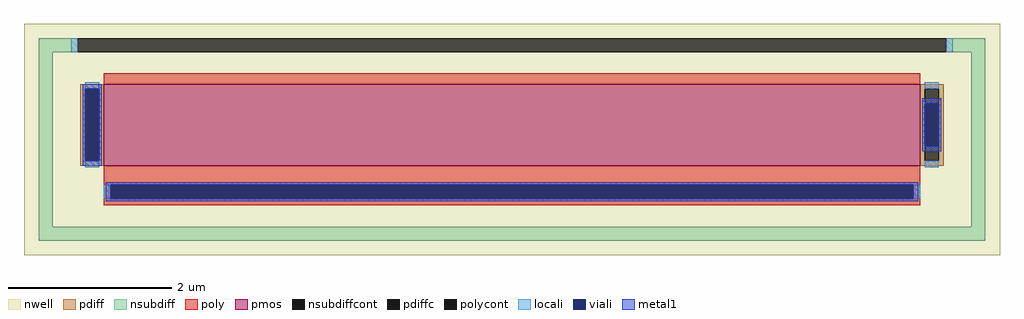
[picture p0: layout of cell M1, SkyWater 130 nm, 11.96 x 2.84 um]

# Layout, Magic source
magic
tech sky130B
magscale 1 2
<< nwell >>
rect -1196 -284 1196 284
<< pmos >>
rect -1000 -64 1000 136
<< pdiff >>
rect -1058 124 -1000 136
rect -1058 -52 -1046 124
rect -1012 -52 -1000 124
rect -1058 -64 -1000 -52
rect 1000 124 1058 136
rect 1000 -52 1012 124
rect 1046 -52 1058 124
rect 1000 -64 1058 -52
<< pdiffc >>
rect -1046 -52 -1012 124
rect 1012 -52 1046 124
<< nsubdiff >>
rect -1160 214 -1064 248
rect 1064 214 1160 248
rect -1160 -214 -1126 214
rect 1126 -214 1160 214
rect -1160 -248 1160 -214
<< nsubdiffcont >>
rect -1064 214 1064 248
<< poly >>
rect -1000 136 1000 162
rect -1000 -111 1000 -64
rect -1000 -145 -984 -111
rect 984 -145 1000 -111
rect -1000 -161 1000 -145
<< polycont >>
rect -984 -145 984 -111
<< locali >>
rect -1080 214 -1064 248
rect 1064 214 1080 248
rect -1046 124 -1012 140
rect -1046 -68 -1012 -52
rect 1012 124 1046 140
rect 1012 -68 1046 -52
rect -1000 -145 -984 -111
rect 984 -145 1000 -111
<< viali >>
rect -1046 -52 -1012 124
rect 1012 -17 1046 89
rect -984 -145 984 -111
<< metal1 >>
rect -1052 124 -1006 136
rect -1052 -52 -1046 124
rect -1012 -52 -1006 124
rect 1006 89 1052 101
rect 1006 -17 1012 89
rect 1046 -17 1052 89
rect 1006 -29 1052 -17
rect -1052 -64 -1006 -52
rect -996 -111 996 -105
rect -996 -145 -984 -111
rect 984 -145 996 -111
rect -996 -151 996 -145
<< properties >>
string FIXED_BBOX -1143 -231 1143 231
string gencell sky130_fd_pr__pfet_01v8
string library sky130
string parameters w 1 l 10 m 1 nf 1 diffcov 100 polycov 100 guard 1 glc 0 grc 0 gtc 1 gbc 0 tbcov 100 rlcov 100 topc 0 botc 1 poverlap 0 doverlap 1 lmin 0.15 wmin 0.42 compatible {sky130_fd_pr__pfet_01v8  sky130_fd_pr__pfet_01v8_lvt sky130_fd_pr__pfet_01v8_hvt  sky130_fd_pr__pfet_g5v0d10v5} full_metal 0 viasrc 60 viadrn 100 viagate 100 viagb 0 viagr 0 viagl 0 viagt 0
<< end >>
